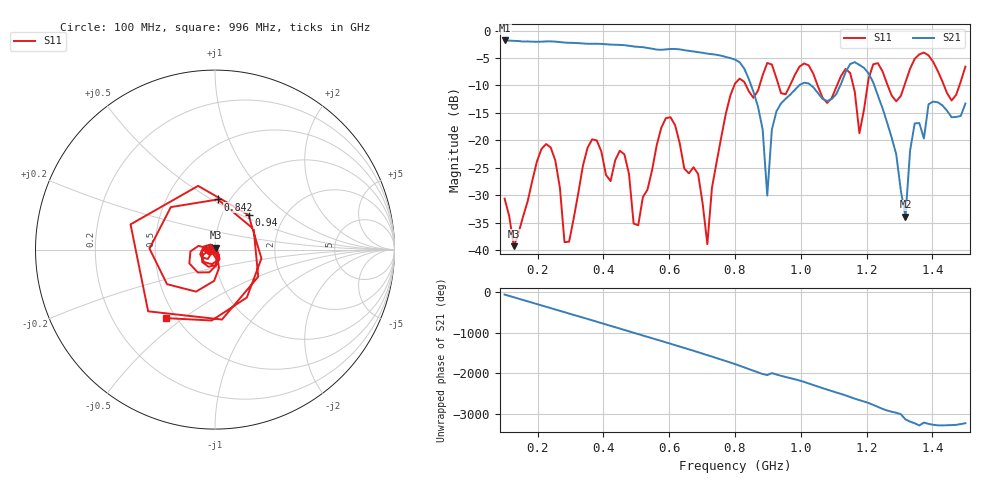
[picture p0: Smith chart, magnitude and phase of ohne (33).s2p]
! NanoVNA-App
! Date: 2025-09-26 09:55:39
! Start: 100MHz Stop: 1,5GHz Points: 101
! S-Parameter data: F S11 S21 S12 S22
# Hz S RI R 50
!  Frequency  S11_Real  S11_Imag  S21_Real  S21_Imag  S12_Real  S12_Imag  S22_Real  S22_Imag
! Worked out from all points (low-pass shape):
!   101 points, 100 MHz to 1.5 GHz, reference 50 ohm
!   highest |S21| = -1.79 dB at 100 MHz (marker M1); lowest = -33.9 dB at 1.318 GHz (marker M2)
!   |S21| within 3 dB of the highest: start of sweep to 771.7 MHz
!   lowest |S11| = -39.3 dB at 128 MHz (marker M3), VSWR 1.02, Z = 50.3 + j1.05 ohm
!   |S11| at or under -10 dB: start of sweep to 797.7 MHz; 833.4 MHz to 874.7 MHz (41.24 MHz wide, 4.83 % of centre); 1.051 GHz to 1.11 GHz (58.69 MHz wide, 5.43 % of centre) (the widest 3 of 7)
!   S12 and S22 are empty: the file has one direction only
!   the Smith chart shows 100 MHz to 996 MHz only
!   S11 on the Smith chart (normalised r, x): 100 MHz: 0.94, -0.01; 842 MHz: 0.88, +0.53; 940 MHz: 1.33, +0.55; 996 MHz: 0.44, -0.43
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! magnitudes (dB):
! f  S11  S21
! 100 MHz  -30.6  -1.8
! 128 MHz  -39.3  -1.9
! 212 MHz  -21.6  -2.0
! 254 MHz  -23.7  -2.0
! 282 MHz  -38.6  -2.2
! 338 MHz  -24.6  -2.3
! 464 MHz  -22.6  -2.6
! 506 MHz  -35.5  -3.0
! 576 MHz  -17.7  -3.5
! 688 MHz  -26.2  -3.9
! 716 MHz  -38.9  -4.2
! 800 MHz  -9.6  -5.3
! 842 MHz  -11.1  -8.8
! 898 MHz  -5.9  -30.1
! 940 MHz  -11.4  -13.3
! 996 MHz  -6.6  -9.9
! 1.038 GHz  -7.9  -10.3
! 1.192 GHz  -14.4  -6.8
! 1.276 GHz  -11.8  -19.5
! 1.318 GHz  -9.4  -33.9
! 1.346 GHz  -5.1  -16.9
! 1.5 GHz  -6.6  -13.3
